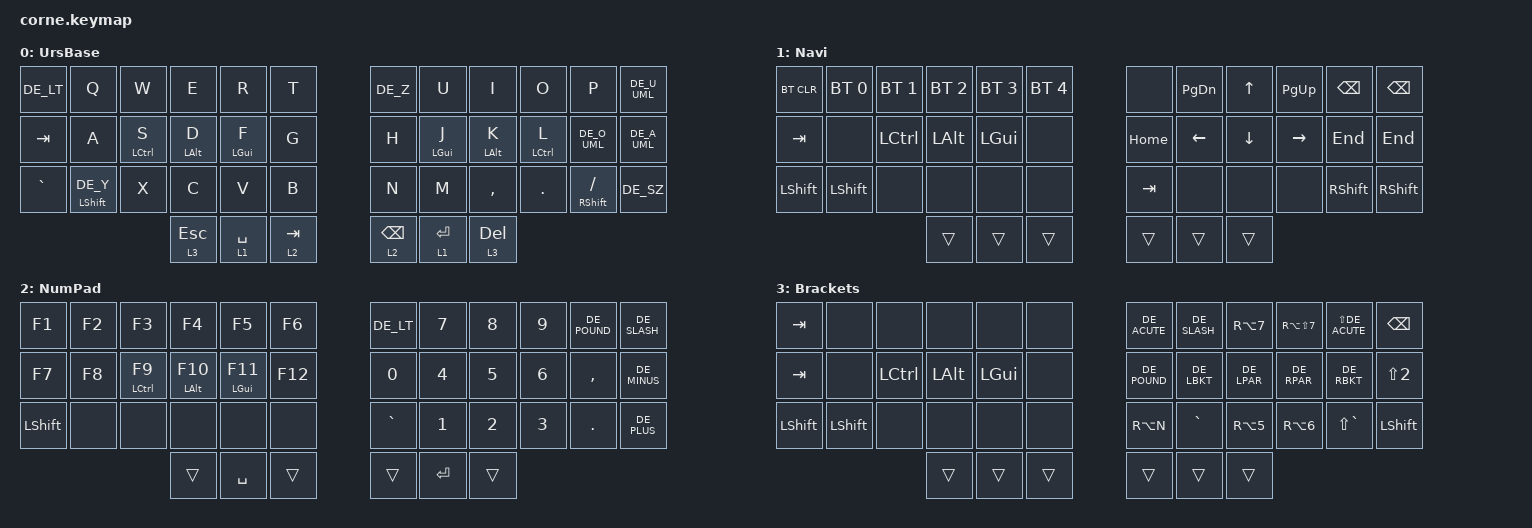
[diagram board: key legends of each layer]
/*
 * Copyright (c) 2020 The ZMK Contributors
 *
 * SPDX-License-Identifier: MIT
 */

#include <behaviors.dtsi>
#include "custom_behaviors.dtsi"
#include <dt-bindings/zmk/keys.h>
#include <dt-bindings/zmk/bt.h>
#include "keys_de.h"

/ {
        keymap {
                compatible = "zmk,keymap";

                default_layer {
// -----------------------------------------------------------------------------------------
// |  TAB |  Q  |  W  |  E  |  R  |  T  |   |  Y  |  U   |  I  |  O  |  P  | BKSP |
// | CTRL |  A  |  S  |  D  |  F  |  G  |   |  H  |  J   |  K  |  L  |  ;  |  '   |
// | SHFT |  Z  |  X  |  C  |  V  |  B  |   |  N  |  M   |  ,  |  .  |  /  | ESC  |
//                    | GUI | LWR | SPC |   | ENT | RSE  | ALT |
                        display-name = "UrsBase";
                        bindings = <
   &kp DE_LT &kp Q            &kp W        &kp E       &kp R        &kp T        &kp DE_Z    &kp U        &kp I        &kp O         &kp P            &kp DE_U_UML 
   &kp TAB   &kp A            &hml LCTRL S &hml LALT D &mt LGUI F   &kp G        &kp H       &hml LGUI J  &hml LALT K  &hml LCTRL L  &kp DE_O_UML     &kp DE_A_UML
   &kp GRAVE &mt LSHIFT DE_Y  &kp X        &kp C       &kp V        &kp B        &kp N       &kp M        &kp COMMA    &kp DOT       &mt RSHFT FSLH  &kp DE_SZ
                                           &lt 3 ESC   &lt 1 SPACE  &lt 2 TAB    &lt 2 BKSP  &lt 1 RET    &lt 3 DEL
                        >;
                };
                navi {
// -----------------------------------------------------------------------------------------
// |  TAB |  1  |  2  |  3  |  4  |  5  |   |  6  |  7  |  8  |  9  |  0  | BKSP |
// | BTCLR| BT1 | BT2 | BT3 | BT4 | BT5 |   | LFT | DWN |  UP | RGT |     |      |
// | SHFT |     |     |     |     |     |   |     |     |     |     |     |      |
//                    | GUI |     | SPC |   | ENT |     | ALT |
                        display-name = "Navi";
                        bindings = <
   &bt BT_CLR &bt BT_SEL 0 &bt BT_SEL 1 &bt BT_SEL 2 &bt BT_SEL 3 &bt BT_SEL 4   &none    &kp PG_DN &kp UP   &kp PG_UP  &kp BKSP   &kp BKSP
   &kp TAB    &none        &kp LCTRL    &kp LALT     &kp LGUI     &none          &kp HOME &kp LEFT  &kp DOWN &kp RIGHT  &kp END    &kp END
   &kp LSHFT  &kp LSHFT    &none        &none        &none        &none          &kp TAB  &none     &none    &none      &kp RSHFT  &kp RSHFT
                          	        &trans       &trans       &trans         &trans   &trans    &trans
                        >;
                };

                numpad {
// -----------------------------------------------------------------------------------------
// |  TAB |  !  |  @  |  #  |  $  |  %  |   |  ^  |  &  |  *  |  (  |  )  | BKSP |
// | CTRL |     |     |     |     |     |   |  -  |  =  |  [  |  ]  |  \  |  `   |
// | SHFT |     |     |     |     |     |   |  _  |  +  |  {  |  }  | "|" |  ~   |
//                    | GUI |     | SPC |   | ENT |     | ALT |
                        display-name = "NumPad";
                        bindings = <
   &kp F1    &kp F2   &kp F3        &kp F4        &kp F5         &kp F6      &kp DE_LT &kp N7   &kp N8  &kp N9  &kp DE_POUND &kp DE_SLASH
   &kp F7    &kp F8   &hml LCTRL F9 &hml LALT F10 &hml LGUI F11  &kp F12     &kp N0    &kp N4   &kp N5  &kp N6  &kp COMMA    &kp DE_MINUS
   &kp LSHFT &none    &none         &none         &none          &none       &kp GRAVE &kp N1   &kp N2  &kp N3  &kp DOT      &kp DE_PLUS
                    	            &trans        &kp SPACE      &trans      &trans    &kp RET  &trans
                        >;
                };

                brackets {
// -----------------------------------------------------------------------------------------
// |  TAB |  !  |  @  |  #  |  $  |  %  |   |  ^  |  &  |  *  |  (  |  )  | BKSP |
// | CTRL |     |     |     |     |     |   |  -  |  =  |  [  |  ]  |  \  |  `   |
// | SHFT |     |     |     |     |     |   |  _  |  +  |  {  |  }  | "|" |  ~   |
//                    | GUI |     | SPC |   | ENT |     | ALT |
                        display-name = "Brackets";
                        bindings = <
   &kp  TAB  &none     &none         &none         &none       &none      &kp DE_ACUTE &kp DE_SLASH &kp RA(N7)    &kp RA(LS(N7)) &kp LS(DE_ACUTE) &kp BSPC
   &kp TAB   &none     &kp LCTRL     &kp LALT      &kp LGUI    &none      &kp DE_POUND &kp DE_LBKT  &kp DE_LPAR   &kp DE_RPAR    &kp DE_RBKT      &kp LS(N2)
   &kp LSHFT &kp LSHFT &none         &none         &none       &none      &kp RA(N)    &kp GRAVE    &kp RA(N5)    &kp RA(N6)     &kp LS(GRAVE)    &kp LSHFT
                    	             &trans        &trans      &trans     &trans       &trans       &trans
                        >;
                };

                extra_1 {
                        status = "reserved";
                };

                extra_2 {
                        status = "reserved";
                };

                extra_3 {
                        status = "reserved";
                };
        };
};
